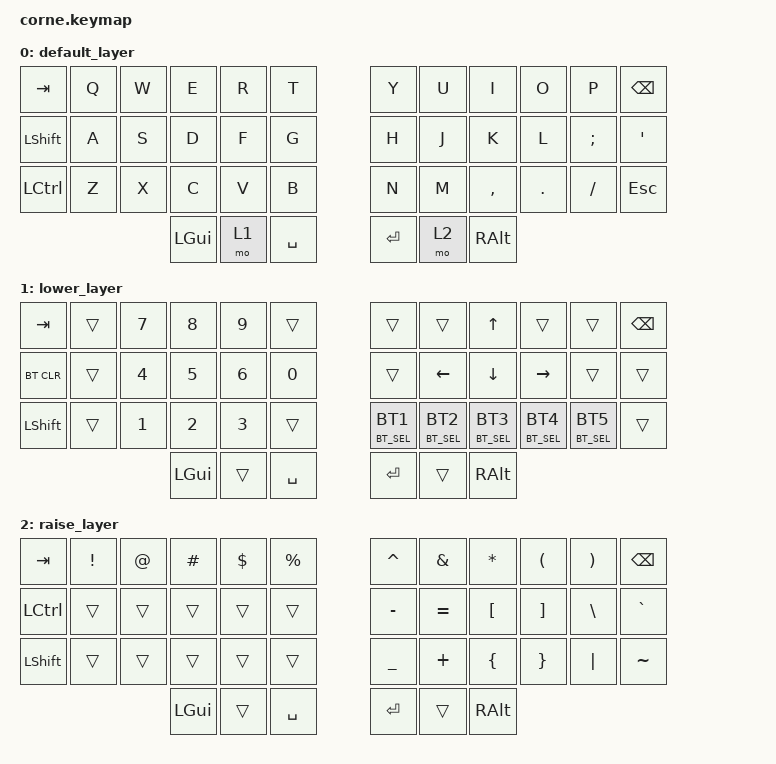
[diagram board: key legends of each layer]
/*
 * Copyright (c) 2020 The ZMK Contributors
 *
 * SPDX-License-Identifier: MIT
 */

#include <behaviors.dtsi>
#include <dt-bindings/zmk/keys.h>
#include <dt-bindings/zmk/bt.h>

/ {
        keymap {
                compatible = "zmk,keymap";

                default_layer {
// -----------------------------------------------------------------------------------------
// |  TAB |  Q  |  W  |  E  |  R  |  T  |   |  Y  |  U   |  I  |  O  |  P  | BSPC |
// | SHFT |  A  |  S  |  D  |  F  |  G  |   |  H  |  J   |  K  |  L  |  ;  |  '   |
// | CTRL |  Z  |  X  |  C  |  V  |  B  |   |  N  |  M   |  ,  |  .  |  /  | ESC  |
//                    | GUI | LWR | SPC |   | ENT | RSE  | ALT |
                        bindings = <
   &kp TAB   &kp Q &kp W &kp E &kp R &kp T   &kp Y &kp U  &kp I     &kp O   &kp P    &kp BSPC
   &kp LSHFT &kp A &kp S &kp D &kp F &kp G   &kp H &kp J  &kp K     &kp L   &kp SEMI &kp SQT
   &kp LCTRL &kp Z &kp X &kp C &kp V &kp B   &kp N &kp M  &kp COMMA &kp DOT &kp FSLH &kp ESC
                  &kp LGUI &mo 1 &kp SPACE   &kp RET &mo 2 &kp RALT
                        >;
                };
                lower_layer {
//number layer
// -----------------------------------------------------------------------------------------
// |  TAB |     |  7  |  8  |  9  |     |   |     |     |  UP |     |     | BSPC |
// | BTCLR|     |  4  |  5  |  6  |  0  |   |     | LFT | DWN | RGT |     |      |
// | SHFT |     |  1  |  2  |  3  |     |   | BT1 | BT2 | BT3 | BT4 | BT5 |      |
//                    | GUI |     | SPC |   | ENT |     | ALT |
                        bindings = <
   &kp TAB    &trans       &kp N7       &kp N8       &kp N9       &trans         &trans       &trans        &kp UP        &trans         &trans      &kp BSPC
   &bt BT_CLR &trans       &kp N4       &kp N5       &kp N6       &kp N0         &trans       &kp LEFT      &kp DOWN      &kp RIGHT      &trans      &trans
   &kp LSHFT  &trans       &kp N1       &kp N2       &kp N3       &trans         &BT_SEL BT1  &BT_SEL BT2   &BT_SEL BT3   &BT_SEL BT4    &BT_SEL BT5 &trans
                                    &kp LGUI     &trans       &kp SPACE      &kp RET  &trans   &kp RALT
                        >;
                };

                raise_layer {
//symbols
// -----------------------------------------------------------------------------------------
// |  TAB |  !  |  @  |  #  |  $  |  %  |   |  ^  |  &  |  *  |  (  |  )  | BSPC |
// | CTRL |     |     |     |     |     |   |  -  |  =  |  [  |  ]  |  \  |  `   |
// | SHFT |     |     |     |     |     |   |  _  |  +  |  {  |  }  | "|" |  ~   |
//                    | GUI |     | SPC |   | ENT |     | ALT |
                        bindings = <
   &kp  TAB  &kp EXCL &kp AT &kp HASH &kp DLLR &kp PRCNT   &kp CARET &kp AMPS  &kp ASTRK &kp LPAR &kp RPAR &kp BSPC
   &kp LCTRL &trans   &trans &trans   &trans   &trans      &kp MINUS &kp EQUAL &kp LBKT  &kp RBKT &kp BSLH &kp GRAVE
   &kp LSHFT &trans   &trans &trans   &trans   &trans      &kp UNDER &kp PLUS  &kp LBRC  &kp RBRC &kp PIPE &kp TILDE
                             &kp LGUI &trans   &kp SPACE   &kp RET   &trans    &kp RALT
                        >;
                };
        };
};
